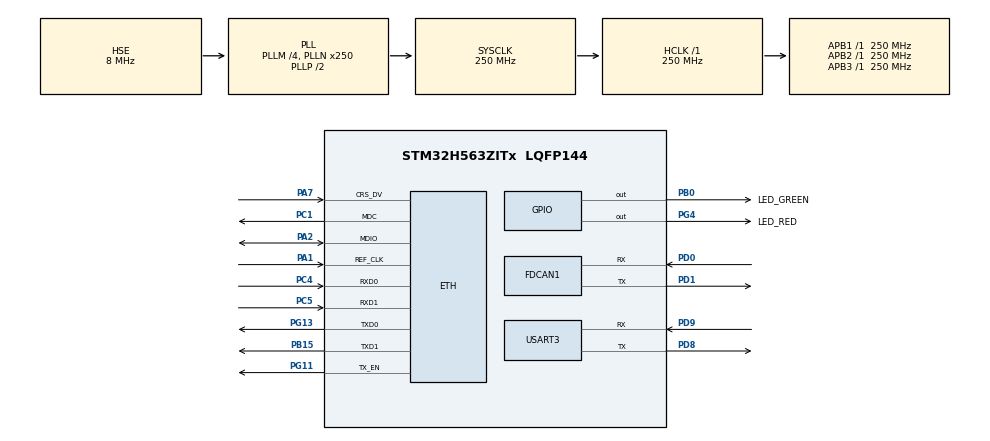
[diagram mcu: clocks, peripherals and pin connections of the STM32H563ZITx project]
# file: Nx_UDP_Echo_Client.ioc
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BOOTPATH.BootPathName=LEGACY
BOOTPATH.UserSelectedBootPath=LEGACY
CORTEX_M33_NS.userName=CORTEX_M33
ETH.MediaInterface=HAL_ETH_RMII_MODE
FDCAN1.CalculateBaudRateNominal=1000000
FDCAN1.CalculateTimeBitNominal=1000
FDCAN1.CalculateTimeQuantumNominal=125.0
FDCAN1.DataTimeSeg1=6
FDCAN1.NominalPrescaler=1
FDCAN1.NominalTimeSeg1=6
Mcu.Family=STM32H5
Mcu.Name=STM32H563ZITx
Mcu.Package=LQFP144
NETXDUO.ETH_ON=1
NETXDUO.LAN_8742=1
NETXDUO.NX_APP_IP_INSTANCE_THREAD_SIZE=2 * 1024
NETXDUO.NX_APP_MEM_POOL_SIZE=30 * 1024
NETXDUO.NX_APP_PACKET_POOL_SIZE=10
NETXDUO.NX_APP_THREAD_STACK_SIZE=2 * 1024
NETXDUO.NX_ENABLE_INTERFACE_CAPABILITY=true
NETXDUO.NetXDuo_Generate_Init_Code=true
NVIC.ETH_IRQn=true\:7\:0\:true\:false\:true\:false\:true\:true\:true
NVIC.PriorityGroup=NVIC_PRIORITYGROUP_4
NVIC.TIM6_IRQn=true\:15\:0\:false\:false\:true\:false\:false\:true\:true
NVIC.TimeBase=TIM6_IRQn
NVIC.TimeBaseIP=TIM6
NetXDuo.BSP.number=1
NetXDuo0.BSP.STBoard=false
NetXDuo0.BSP.api=BSP_COMPONENT_DRIVER
NetXDuo0.BSP.component=lan8742
NetXDuo0.BSP.instance=lan8742
NetXDuo0.BSP.name=LAN_Component
NetXDuo0.BSP.semaphore=SEMA_lan8742
NetXDuo0.BSP.solution=lan8742
PA1.Mode=RMII
PA1.Signal=ETH_REF_CLK
PA2.Mode=RMII
PA2.Signal=ETH_MDIO
PA7.Mode=RMII
PA7.Signal=ETH_CRS_DV
PB0.GPIO_Label=LED_GREEN
PB0.Signal=GPIO_Output
PB15.Mode=RMII
PB15.Signal=ETH_TXD1
PC1.Mode=RMII
PC1.Signal=ETH_MDC
PC4.Mode=RMII
PC4.Signal=ETH_RXD0
PC5.Mode=RMII
PC5.Signal=ETH_RXD1
PD0.Mode=FDCAN_Activate
PD0.Signal=FDCAN1_RX
PD1.Mode=FDCAN_Activate
PD1.Signal=FDCAN1_TX
PD8.Mode=Asynchronous
PD8.Signal=USART3_TX
PD9.Mode=Asynchronous
PD9.Signal=USART3_RX
PG11.Mode=RMII
PG11.Signal=ETH_TX_EN
PG13.Mode=RMII
PG13.Signal=ETH_TXD0
PG4.GPIO_Label=LED_RED
PG4.Signal=GPIO_Output
PH0-OSC_IN(PH0).Mode=HSE-DIG-External-Clock-Source
PH0-OSC_IN(PH0).Signal=RCC_OSC_IN
ProjectManager.HeapSize=0x200
ProjectManager.StackSize=0x400
ProjectManager.TargetToolchain=STM32CubeIDE
RCC.ADCFreq_Value=250000000
RCC.AHBFreq_Value=250000000
RCC.APB1Freq_Value=250000000
RCC.APB1TimFreq_Value=250000000
RCC.APB2Freq_Value=250000000
RCC.APB2TimFreq_Value=250000000
RCC.APB3Freq_Value=250000000
RCC.CSI_VALUE=4000000
RCC.CortexFreq_Value=250000000
RCC.EPOD_VALUE=8000000
RCC.HCLKFreq_Value=250000000
RCC.HSE_VALUE=8000000
RCC.HSI48_VALUE=48000000
RCC.HSIDiv=RCC_HSI_DIV1
RCC.HSI_VALUE=64000000
RCC.LSE_VALUE=32768
RCC.LSIRC_VALUE=32000
RCC.PLLFRACN=0
RCC.PLLM=4
RCC.PLLN=250
RCC.PLLSourceVirtual=RCC_PLL1_SOURCE_HSE
RCC.SYSCLKFreq_VALUE=250000000
RCC.SYSCLKSource=RCC_SYSCLKSOURCE_PLLCLK
RCC.USBFreq_Value=48000000
RCC.VCOOutputFreq_Value=500000000
USART3.VirtualMode=VM_ASYNC
VP_BOOTPATH_VS_BOOTPATH.Mode=BP_Activate
VP_CORTEX_M33_NS_VS_Hclk.Mode=Hclk_Mode
VP_ICACHE_VS_ICACHE.Mode=DefaultMode
VP_MEMORYMAP_VS_MEMORYMAP.Mode=CurAppReg
VP_NETXDUO_VS_AddonsOoDHCP.Mode=Addons_DHCP_Client
VP_NETXDUO_VS_EthernetOoPhyOoInterface.Mode=LAN8742_Phy_Interface
VP_NETXDUO_VS_NXOoCore.Mode=NX_Core
VP_NETXDUO_VS_NetworkOoInterface.Mode=Ethernet_Interface
VP_PWR_VS_DBSignals.Mode=DisableDeadBatterySignals
VP_PWR_VS_LPOM.Mode=PowerOptimisation
VP_PWR_VS_SECSignals.Mode=Security/Privilege
VP_SYS_VS_tim6.Mode=TIM6
VP_THREADX_VS_RTOSJjThreadXJjCoreJjDefault.Mode=Core_Default
board=NUCLEO-H563ZI

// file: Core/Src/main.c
/* USER CODE BEGIN Header */
/**
  ******************************************************************************
  * @file           : main.c
  * @brief          : Main program body
  ******************************************************************************
  * @attention
  *
  * Copyright (c) 2023 STMicroelectronics.
  * All rights reserved.
  *
  * This software is licensed under terms that can be found in the LICENSE file
  * in the root directory of this software component.
  * If no LICENSE file comes with this software, it is provided AS-IS.
  *
  ******************************************************************************
  */
/* USER CODE END Header */
#include "app_threadx.h"
#include "main.h"
#include "string.h"

/* USER CODE BEGIN Includes */
#include "stdio.h"
/* USER CODE END Includes */

/* USER CODE BEGIN PTD */
#if defined(__ICCARM__)
size_t __write(int file, unsigned char const *ptr, size_t len);
/* New definition from EWARM V9, compatible with EWARM8 */
int iar_fputc(int ch);
#define PUTCHAR_PROTOTYPE int iar_fputc(int ch)
#elif defined ( __CC_ARM ) || defined(__ARMCC_VERSION)
/* ARM Compiler 5/6*/
#define PUTCHAR_PROTOTYPE int fputc(int ch, FILE *f)
#elif defined(__GNUC__)
#define PUTCHAR_PROTOTYPE int __io_putchar(int ch)
#endif /* __ICCARM__ */

/* USER CODE END PTD */

ETH_TxPacketConfigTypeDef TxConfig;
ETH_DMADescTypeDef  DMARxDscrTab[ETH_RX_DESC_CNT]; /* Ethernet Rx DMA Descriptors */
ETH_DMADescTypeDef  DMATxDscrTab[ETH_TX_DESC_CNT]; /* Ethernet Tx DMA Descriptors */

ETH_HandleTypeDef heth;

FDCAN_HandleTypeDef hfdcan1;

UART_HandleTypeDef huart3;

void SystemClock_Config(void);
static void MX_GPIO_Init(void);
static void MX_ETH_Init(void);
static void MX_ICACHE_Init(void);
static void MX_USART3_UART_Init(void);
static void MX_FDCAN1_Init(void);

/* USER CODE BEGIN 0 */
void Success_Handler(void)
{
  HAL_GPIO_WritePin (LED_RED_GPIO_Port, LED_RED_Pin, GPIO_PIN_RESET);
  while(1)
  {
    HAL_GPIO_TogglePin(LED_GREEN_GPIO_Port, LED_GREEN_Pin);
    tx_thread_sleep(50);
  }
}

/* USER CODE END 0 */

int main(void)
{

  /* MCU Configuration--------------------------------------------------------*/

  /* Reset of all peripherals, Initializes the Flash interface and the Systick. */
  HAL_Init();

  /* Configure the system clock */
  SystemClock_Config();

  /* Initialize all configured peripherals */
  MX_GPIO_Init();
  MX_ETH_Init();
  MX_ICACHE_Init();
  MX_USART3_UART_Init();
  MX_FDCAN1_Init();

  MX_ThreadX_Init();

  /* We should never get here as control is now taken by the scheduler */

  /* Infinite loop */
  while (1)
  {

  }
}

void SystemClock_Config(void)
{
  RCC_OscInitTypeDef RCC_OscInitStruct = {0};
  RCC_ClkInitTypeDef RCC_ClkInitStruct = {0};

  /** Configure the main internal regulator output voltage
  */
  __HAL_PWR_VOLTAGESCALING_CONFIG(PWR_REGULATOR_VOLTAGE_SCALE0);

  while(!__HAL_PWR_GET_FLAG(PWR_FLAG_VOSRDY)) {}

  /** Initializes the RCC Oscillators according to the specified parameters
  * in the RCC_OscInitTypeDef structure.
  */
  RCC_OscInitStruct.OscillatorType = RCC_OSCILLATORTYPE_HSE;
  RCC_OscInitStruct.HSEState = RCC_HSE_BYPASS_DIGITAL;
  RCC_OscInitStruct.PLL.PLLState = RCC_PLL_ON;
  RCC_OscInitStruct.PLL.PLLSource = RCC_PLL1_SOURCE_HSE;
  RCC_OscInitStruct.PLL.PLLM = 4;
  RCC_OscInitStruct.PLL.PLLN = 250;
  RCC_OscInitStruct.PLL.PLLP = 2;
  RCC_OscInitStruct.PLL.PLLQ = 2;
  RCC_OscInitStruct.PLL.PLLR = 2;
  RCC_OscInitStruct.PLL.PLLRGE = RCC_PLL1_VCIRANGE_1;
  RCC_OscInitStruct.PLL.PLLVCOSEL = RCC_PLL1_VCORANGE_WIDE;
  RCC_OscInitStruct.PLL.PLLFRACN = 0;
  if (HAL_RCC_OscConfig(&RCC_OscInitStruct) != HAL_OK)
  {
    Error_Handler();
  }

  /** Initializes the CPU, AHB and APB buses clocks
  */
  RCC_ClkInitStruct.ClockType = RCC_CLOCKTYPE_HCLK|RCC_CLOCKTYPE_SYSCLK
                              |RCC_CLOCKTYPE_PCLK1|RCC_CLOCKTYPE_PCLK2
                              |RCC_CLOCKTYPE_PCLK3;
  RCC_ClkInitStruct.SYSCLKSource = RCC_SYSCLKSOURCE_PLLCLK;
  RCC_ClkInitStruct.AHBCLKDivider = RCC_SYSCLK_DIV1;
  RCC_ClkInitStruct.APB1CLKDivider = RCC_HCLK_DIV1;
  RCC_ClkInitStruct.APB2CLKDivider = RCC_HCLK_DIV1;
  RCC_ClkInitStruct.APB3CLKDivider = RCC_HCLK_DIV1;

  if (HAL_RCC_ClockConfig(&RCC_ClkInitStruct, FLASH_LATENCY_5) != HAL_OK)
  {
    Error_Handler();
  }
}

static void MX_ETH_Init(void)
{

   static uint8_t MACAddr[6];

  heth.Instance = ETH;
  MACAddr[0] = 0x00;
  MACAddr[1] = 0x80;
  MACAddr[2] = 0xE1;
  MACAddr[3] = 0x00;
  MACAddr[4] = 0x00;
  MACAddr[5] = 0x00;
  heth.Init.MACAddr = &MACAddr[0];
  heth.Init.MediaInterface = HAL_ETH_RMII_MODE;
  heth.Init.TxDesc = DMATxDscrTab;
  heth.Init.RxDesc = DMARxDscrTab;
  heth.Init.RxBuffLen = 1524;

  if (HAL_ETH_Init(&heth) != HAL_OK)
  {
    Error_Handler();
  }

  memset(&TxConfig, 0 , sizeof(ETH_TxPacketConfigTypeDef));
  TxConfig.Attributes = ETH_TX_PACKETS_FEATURES_CSUM | ETH_TX_PACKETS_FEATURES_CRCPAD;
  TxConfig.ChecksumCtrl = ETH_CHECKSUM_IPHDR_PAYLOAD_INSERT_PHDR_CALC;
  TxConfig.CRCPadCtrl = ETH_CRC_PAD_INSERT;

}

static void MX_FDCAN1_Init(void)
{

  hfdcan1.Instance = FDCAN1;
  hfdcan1.Init.ClockDivider = FDCAN_CLOCK_DIV1;
  hfdcan1.Init.FrameFormat = FDCAN_FRAME_CLASSIC;
  hfdcan1.Init.Mode = FDCAN_MODE_NORMAL;
  hfdcan1.Init.AutoRetransmission = DISABLE;
  hfdcan1.Init.TransmitPause = DISABLE;
  hfdcan1.Init.ProtocolException = DISABLE;
  hfdcan1.Init.NominalPrescaler = 1;
  hfdcan1.Init.NominalSyncJumpWidth = 1;
  hfdcan1.Init.NominalTimeSeg1 = 6;
  hfdcan1.Init.NominalTimeSeg2 = 1;
  hfdcan1.Init.DataPrescaler = 1;
  hfdcan1.Init.DataSyncJumpWidth = 1;
  hfdcan1.Init.DataTimeSeg1 = 6;
  hfdcan1.Init.DataTimeSeg2 = 1;
  hfdcan1.Init.StdFiltersNbr = 0;
  hfdcan1.Init.ExtFiltersNbr = 0;
  hfdcan1.Init.TxFifoQueueMode = FDCAN_TX_FIFO_OPERATION;
  if (HAL_FDCAN_Init(&hfdcan1) != HAL_OK)
  {
    Error_Handler();
  }

}

static void MX_ICACHE_Init(void)
{

  /** Enable instruction cache (default 2-ways set associative cache)
  */
  if (HAL_ICACHE_Enable() != HAL_OK)
  {
    Error_Handler();
  }

}

static void MX_USART3_UART_Init(void)
{

  huart3.Instance = USART3;
  huart3.Init.BaudRate = 115200;
  huart3.Init.WordLength = UART_WORDLENGTH_8B;
  huart3.Init.StopBits = UART_STOPBITS_1;
  huart3.Init.Parity = UART_PARITY_NONE;
  huart3.Init.Mode = UART_MODE_TX_RX;
  huart3.Init.HwFlowCtl = UART_HWCONTROL_NONE;
  huart3.Init.OverSampling = UART_OVERSAMPLING_16;
  huart3.Init.OneBitSampling = UART_ONE_BIT_SAMPLE_DISABLE;
  huart3.Init.ClockPrescaler = UART_PRESCALER_DIV1;
  huart3.AdvancedInit.AdvFeatureInit = UART_ADVFEATURE_NO_INIT;
  if (HAL_UART_Init(&huart3) != HAL_OK)
  {
    Error_Handler();
  }
  if (HAL_UARTEx_SetTxFifoThreshold(&huart3, UART_TXFIFO_THRESHOLD_1_8) != HAL_OK)
  {
    Error_Handler();
  }
  if (HAL_UARTEx_SetRxFifoThreshold(&huart3, UART_RXFIFO_THRESHOLD_1_8) != HAL_OK)
  {
    Error_Handler();
  }
  if (HAL_UARTEx_DisableFifoMode(&huart3) != HAL_OK)
  {
    Error_Handler();
  }

}

static void MX_GPIO_Init(void)
{
  GPIO_InitTypeDef GPIO_InitStruct = {0};

  /* GPIO Ports Clock Enable */
  __HAL_RCC_GPIOH_CLK_ENABLE();
  __HAL_RCC_GPIOC_CLK_ENABLE();
  __HAL_RCC_GPIOA_CLK_ENABLE();
  __HAL_RCC_GPIOB_CLK_ENABLE();
  __HAL_RCC_GPIOD_CLK_ENABLE();
  __HAL_RCC_GPIOG_CLK_ENABLE();

  /*Configure GPIO pin Output Level */
  HAL_GPIO_WritePin(LED_GREEN_GPIO_Port, LED_GREEN_Pin, GPIO_PIN_RESET);

  /*Configure GPIO pin Output Level */
  HAL_GPIO_WritePin(LED_RED_GPIO_Port, LED_RED_Pin, GPIO_PIN_RESET);

  /*Configure GPIO pin : LED_GREEN_Pin */
  GPIO_InitStruct.Pin = LED_GREEN_Pin;
  GPIO_InitStruct.Mode = GPIO_MODE_OUTPUT_PP;
  GPIO_InitStruct.Pull = GPIO_NOPULL;
  GPIO_InitStruct.Speed = GPIO_SPEED_FREQ_LOW;
  HAL_GPIO_Init(LED_GREEN_GPIO_Port, &GPIO_InitStruct);

  /*Configure GPIO pin : LED_RED_Pin */
  GPIO_InitStruct.Pin = LED_RED_Pin;
  GPIO_InitStruct.Mode = GPIO_MODE_OUTPUT_PP;
  GPIO_InitStruct.Pull = GPIO_NOPULL;
  GPIO_InitStruct.Speed = GPIO_SPEED_FREQ_LOW;
  HAL_GPIO_Init(LED_RED_GPIO_Port, &GPIO_InitStruct);

}

/* USER CODE BEGIN 4 */
#if defined(__ICCARM__)
size_t __write(int file, unsigned char const *ptr, size_t len)
{
  size_t idx;
  unsigned char const *pdata = ptr;

  for (idx = 0; idx < len; idx++)
  {
    iar_fputc((int)*pdata);
    pdata++;
  }
  return len;
}
#endif /* __ICCARM__ */
/**
  * @brief  Retargets the C library printf function to the USART.
  * @param  None
  * @retval None
  */

PUTCHAR_PROTOTYPE
{
  /* Place your implementation of putchar here */
  /* e.g. write a character to the USART3 and Loop until the end of transmission */
  HAL_UART_Transmit(&huart3, (uint8_t *)&ch, 1, 0xFFFF);
  return ch;
}

/* USER CODE END 4 */

void HAL_TIM_PeriodElapsedCallback(TIM_HandleTypeDef *htim)
{
  if (htim->Instance == TIM6) {
    HAL_IncTick();
  }
}

void Error_Handler(void)
{
  /* USER CODE BEGIN Error_Handler_Debug */
  /* User can add his own implementation to report the HAL error return state */
  HAL_GPIO_WritePin (LED_GREEN_GPIO_Port, LED_GREEN_Pin, GPIO_PIN_RESET);
  while (1)
  {
    HAL_GPIO_TogglePin(LED_RED_GPIO_Port,LED_RED_Pin);
    HAL_Delay(1000);
  }
  /* USER CODE END Error_Handler_Debug */
}
